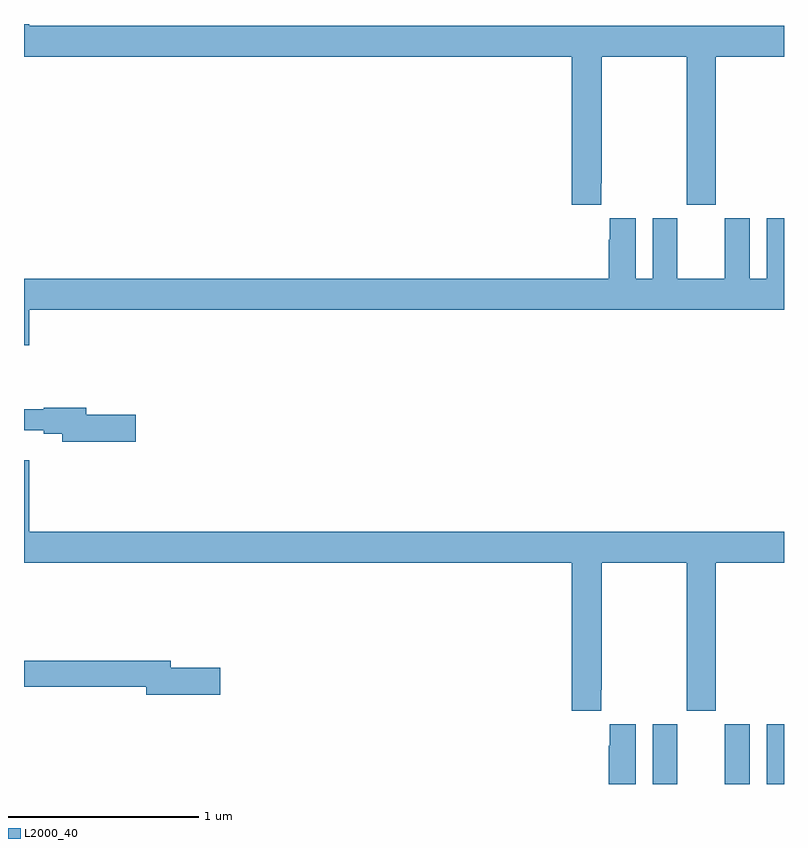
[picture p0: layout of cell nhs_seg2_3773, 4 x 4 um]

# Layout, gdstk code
import gdstk
lib = gdstk.Library(unit=1e-6, precision=1e-09)
def R(c, l, rs):  # rectangles x0, y0, x1, y1
    for r in rs: c.add(gdstk.rectangle(r[:2], r[2:], *l))
def P(c, l, *ps):  # polygons
    for p in ps: c.add(gdstk.Polygon(p, *l))
L2000_40 = (2000, 40)

nhs_seg2_3773 = lib.new_cell('nhs_seg2_3773')
R(nhs_seg2_3773, L2000_40, [(312.308,651.8,312.439,652.114), (312.689,651.8,312.82,652.114), (312.908,651.8,313,652.114)])
P(nhs_seg2_3773, L2000_40, [(312.037,654.961),(312.042,654.961),(312.042,655.628),(312.487,655.628),(312.487,654.849),(312.642,654.849),(312.642,655.628),(313,655.628),(313,655.792),(309.028,655.792),(309.028,655.8),(309,655.8),(309,655.628),(311.882,655.628),(311.882,654.849),(312.037,654.849)],
  [(309.028,654.296),(313,654.296),(313,654.778),(312.908,654.778),(312.908,654.46),(312.82,654.46),(312.82,654.778),(312.689,654.778),(312.689,654.46),(312.439,654.46),(312.439,654.778),(312.308,654.778),(312.308,654.46),(312.22,654.46),(312.22,654.778),(312.083,654.778),(312.083,654.665),(312.077,654.665),(312.077,654.46),(309,654.46),(309,654.108),(309.028,654.108)],
  [(309.589,653.744),(309.328,653.744),(309.328,653.78),(309.104,653.78),(309.104,653.773),(309,653.773),(309,653.663),(309.104,653.663),(309.104,653.644),(309.2,653.644),(309.2,653.602),(309.589,653.602)],
  [(312.037,652.297),(312.042,652.297),(312.042,652.964),(312.487,652.964),(312.487,652.185),(312.642,652.185),(312.642,652.964),(313,652.964),(313,653.128),(309.028,653.128),(309.028,653.503),(309,653.503),(309,652.964),(311.882,652.964),(311.882,652.185),(312.037,652.185)],
  [(310.033,652.412),(309.772,652.412),(309.772,652.448),(309,652.448),(309,652.312),(309.644,652.312),(309.644,652.27),(310.033,652.27)],
  [(312.22,652.114),(312.083,652.114),(312.083,652.001),(312.077,652.001),(312.077,651.8),(312.22,651.8)])

lib.write_gds('nhs_seg2_3773.gds')
